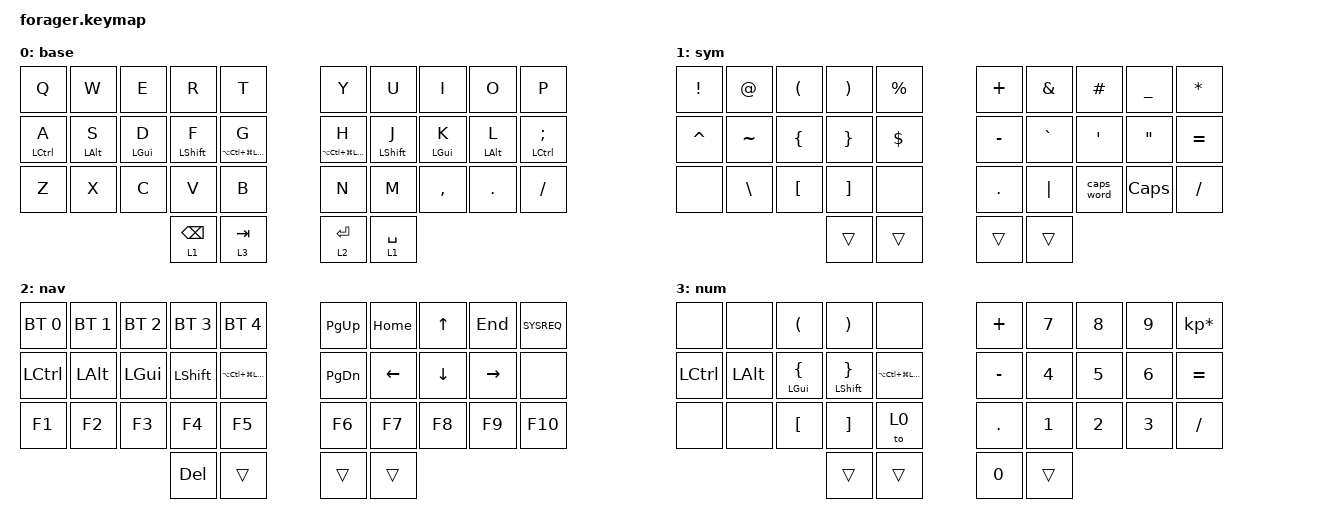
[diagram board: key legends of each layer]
#include <behaviors.dtsi>
#include <dt-bindings/zmk/keys.h>
#include <dt-bindings/zmk/bt.h>
#include <dt-bindings/zmk/outputs.h>

#define BASE 0
#define SYM  1
#define NAV  2
#define NUM  3

#define HYPER LA(LC(LG(LSHFT)))

#define KEYS_L 0 1 2 3 4 10 11 12 13 14 20 21 22 23 24
#define KEYS_R 5 6 7 8 9 15 16 17 18 19 25 26 27 28 29
#define THUMBS 30 31 32 33

/ {
    behaviors {
        lhm: left_homerow_mods {
            compatible = "zmk,behavior-hold-tap";
            #binding-cells = <2>;
            flavor =    "balanced";
            tapping-term-ms = <280>;
            quick-tap-ms = <175>;
            require-prior-idle-ms = <150>;
            bindings = <&kp>, <&kp>;
            hold-trigger-key-positions = <KEYS_R THUMBS>;
            hold-trigger-on-release;
        };
        rhm: right_homerow_mods {
            compatible = "zmk,behavior-hold-tap";
            #binding-cells = <2>;
            flavor = "balanced";
            tapping-term-ms = <280>;
            quick-tap-ms = <175>;
            require-prior-idle-ms = <150>;
            bindings = <&kp>, <&kp>;
            hold-trigger-key-positions = <KEYS_L THUMBS>;
            hold-trigger-on-release;
        };
        lhms: left_homerow_mods_shift {
            compatible = "zmk,behavior-hold-tap";
            #binding-cells = <2>;
            // flavor =    "hold-preferred";
            flavor =    "balanced";
            tapping-term-ms = <200>;
            quick-tap-ms = <175>;
            // require-prior-idle-ms = <150>;
            bindings = <&kp>, <&kp>;
            hold-trigger-key-positions = <KEYS_R THUMBS>;
            // hold-trigger-on-release;

        };
        rhms: right_homerow_mods_shift {
            compatible = "zmk,behavior-hold-tap";
            #binding-cells = <2>;
            // flavor =    "hold-preferred";
            flavor =    "balanced";
            tapping-term-ms = <200>;
            quick-tap-ms = <175>;
            // require-prior-idle-ms = <150>;
            bindings = <&kp>, <&kp>;
            hold-trigger-key-positions = <KEYS_L THUMBS>;
            // hold-trigger-on-release;

        };
    };

    combos {
        compatible = "zmk,combos";

        escape {
            bindings = <&kp ESC>;
            key-positions = <0 10>;
            require-prior-idle-ms = <150>;
        };

        undo {
            bindings = <&kp LG(Z)>;
            key-positions = <10 20>;
            require-prior-idle-ms = <150>;
        };

        cut {
            bindings = <&kp LG(X)>;
            key-positions = <11 21>;
            require-prior-idle-ms = <150>;
        };

        copy {
            bindings = <&kp LG(C)>;
            key-positions = <12 22>;
            require-prior-idle-ms = <150>;
        };

        paste {
            bindings = <&kp LG(V)>;
            key-positions = <13 23>;
            require-prior-idle-ms = <150>;
        };

        spaste {
            bindings = <&kp LG(LS(V))>;
            key-positions = <14 24>;
            require-prior-idle-ms = <150>;
        };

        numlayer {
            bindings = <&to 3>;
            key-positions = <19 29>;
            require-prior-idle-ms = <150>;
        };

        colon {
            bindings = <&kp COLON>;
            key-positions = <6 16>;
            require-prior-idle-ms = <150>;
        };

        bt_clear_current_profile {
            bindings = <&bt BT_CLR>;
            key-positions = <0 9 20 29>;
            timeout-ms = <1000>;
            require-prior-idle-ms = <150>;
        };

    };

    keymap {
        compatible = "zmk,keymap";

        base {
            bindings = <
            &kp Q           &kp W           &kp E           &kp R                 &kp T                                           &kp Y                             &kp U           &kp I               &kp O           &kp P
            &lhm LCTRL A    &lhm LALT S     &lhm LGUI D     &lhms LSHFT F         &lhm HYPER G                                    &rhm HYPER H                      &rhms LSHFT J   &rhm LGUI K         &rhm LALT L     &rhm LCTRL SEMICOLON
            &kp Z           &kp X           &kp C           &kp V                 &kp B                                           &kp N                             &kp M           &kp COMMA           &kp PERIOD      &kp SLASH
                                                                                  &lt 1 BACKSPACE   &lt 3 TAB    &lt 2 ENTER      &lt 1 SPACE
            >;
        };

        sym {
            bindings = <
            &kp EXCL         &kp AT         &kp LPAR             &kp RPAR              &kp PRCNT     &kp PLUS    &kp AMPS       &kp HASH    &kp UNDER        &kp STAR
            &kp CARET        &kp TILDE      &kp LBRC             &kp RBRC              &kp DLLR      &kp MINUS   &kp GRAVE      &kp SQT     &kp DQT          &kp EQUAL
            &none            &kp BSLH       &kp LBKT             &kp RBKT              &none         &kp DOT     &kp PIPE       &caps_word  &kp CAPS         &kp FSLH
                                                     &trans                &trans        &trans      &trans
            >;
        };

        nav {
            bindings = <
            &bt BT_SEL 0      &bt BT_SEL 1 &bt BT_SEL 2 &bt BT_SEL 3    &bt BT_SEL 4                &kp PG_UP      &kp HOME  &kp UP    &kp END    &kp SYSREQ
            &kp LCTRL         &kp LALT      &kp LGUI      &kp LSHFT       &kp HYPER       &kp PG_DN      &kp LEFT  &kp DOWN  &kp RIGHT  &none
            &kp F1            &kp F2        &kp F3        &kp F4          &kp F5                      &kp F6         &kp F7    &kp F8    &kp F9     &kp F10
                                                    &kp DEL         &trans                      &trans         &trans
             >;
        };

        num {
            bindings = <
            &none             &none         &kp LPAR              &kp RPAR              &none                           &kp PLUS   &kp N7  &kp N8  &kp N9  &kp KP_ASTERISK
            &kp LCTRL         &kp LALT      &lhm LGUI LBRC         &lhms LSHFT RBRC        &kp HYPER           &kp MINUS  &kp N4  &kp N5  &kp N6  &kp EQUAL
            &none             &none         &kp LBKT              &kp RBKT              &to 0                          &kp DOT    &kp N1  &kp N2  &kp N3  &kp FSLH
                                                            &trans                &trans                       &kp N0   &trans
            >;
        };
    };
};

&lt {
    require-prior-idle-ms = <150>;
    tapping-term-ms = <200>;
    quick-tap-ms = <175>;
};
